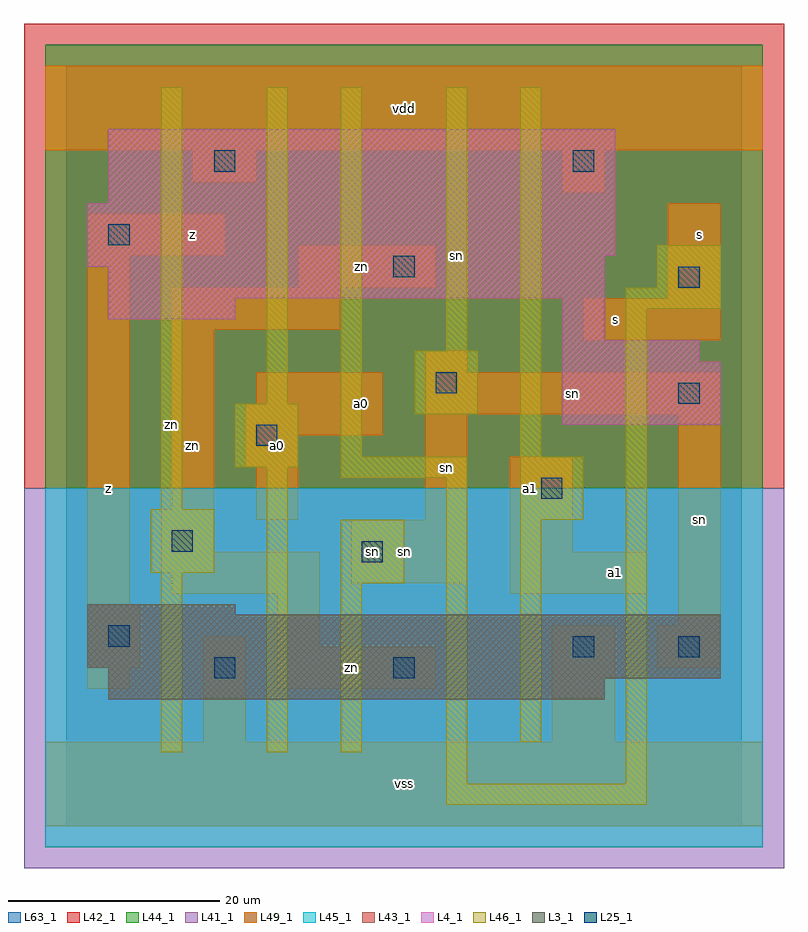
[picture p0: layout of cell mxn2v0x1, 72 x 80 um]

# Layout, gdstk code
import gdstk
lib = gdstk.Library(unit=1e-6, precision=1e-09)
def R(c, l, rs):  # rectangles x0, y0, x1, y1
    for r in rs: c.add(gdstk.rectangle(r[:2], r[2:], *l))
L3_1 = (3, 1)
L4_1 = (4, 1)
L25_1 = (25, 1)
L41_1 = (41, 1)
L42_1 = (42, 1)
L43_1 = (43, 1)
L44_1 = (44, 1)
L45_1 = (45, 1)
L46_1 = (46, 1)
L49_1 = (49, 1)
L63_1 = (63, 1)

mxn2v0x1 = lib.new_cell('mxn2v0x1')
R(mxn2v0x1, L3_1, [(4,12,51,14), (4,14,62,15), (2,15,62,20), (2,20,16,21)])
R(mxn2v0x1, L4_1, [(47,38,62,44), (47,44,60,46), (47,46,51,50), (4,48,16,50), (4,50,51,53), (2,53,51,54), (2,54,52,59), (4,59,52,66)])
R(mxn2v0x1, L25_1, [(14,14,16,16), (31,14,33,16), (48,16,50,18), (58,16,60,18), (4,17,6,19), (28,25,30,27), (10,26,12,28), (45,31,47,33), (18,36,20,38), (58,40,60,42), (35,41,37,43), (58,51,60,53), (31,52,33,54), (4,55,6,57), (14,62,16,64), (48,62,50,64)])
R(mxn2v0x1, L41_1, [(-4,-4,68,32)])
R(mxn2v0x1, L42_1, [(-4,32,68,76)])
R(mxn2v0x1, L43_1, [(4,12,51,14), (4,14,62,15), (2,15,62,20), (2,20,16,21), (47,38,62,44), (47,44,60,46), (47,46,51,50), (4,48,16,50), (4,50,51,53), (2,53,51,54), (2,54,52,59), (4,59,52,66)])
R(mxn2v0x1, L44_1, [(-2,32,66,74)])
R(mxn2v0x1, L45_1, [(-2,-2,66,32)])
R(mxn2v0x1, L46_1, [(36,2,55,4), (36,4,38,33), (53,4,55,49), (9,7,11,24), (19,7,21,34), (26,7,28,23), (43,8,45,29), (26,23,32,29), (8,24,14,30), (43,29,49,35), (9,30,11,70), (26,33,38,35), (16,34,22,40), (26,35,28,70), (43,35,45,70), (33,39,39,45), (19,40,21,70), (36,45,38,70), (53,49,62,51), (56,51,62,55)])
R(mxn2v0x1, L49_1, [(-2,0,66,8), (13,8,17,18), (46,8,52,19), (2,13,6,15), (20,13,35,17), (2,15,7,21), (56,15,62,19), (20,17,24,22), (58,19,62,39), (2,21,6,54), (10,22,24,24), (42,22,55,26), (27,23,38,29), (9,24,24,26), (9,26,14,30), (42,26,48,35), (18,29,22,34), (34,29,38,39), (10,30,14,47), (17,34,22,37), (17,37,30,40), (34,39,62,43), (18,40,30,43), (34,43,38,45), (49,46,62,50), (10,47,26,51), (57,50,62,59), (22,51,35,55), (2,54,15,58), (47,60,51,64), (12,61,18,64), (-2,64,66,72)])
R(mxn2v0x1, L63_1, [(0,0,64,72)])
mxn2v0x1.add(gdstk.Label('zn', (10,38), layer=46, texttype=1))
mxn2v0x1.add(gdstk.Label('sn', (29,26), layer=49, texttype=1))
mxn2v0x1.add(gdstk.Label('sn', (37,54), layer=46, texttype=1))
mxn2v0x1.add(gdstk.Label('z', (4,32), layer=49, texttype=1))
mxn2v0x1.add(gdstk.Label('zn', (12,36), layer=49, texttype=1))
mxn2v0x1.add(gdstk.Label('z', (12,56), layer=49, texttype=1))
mxn2v0x1.add(gdstk.Label('a0', (28,40), layer=49, texttype=1))
mxn2v0x1.add(gdstk.Label('a0', (20,36), layer=49, texttype=1))
mxn2v0x1.add(gdstk.Label('vss', (32,4), layer=49, texttype=1))
mxn2v0x1.add(gdstk.Label('zn', (27,15), layer=49, texttype=1))
mxn2v0x1.add(gdstk.Label('sn', (32,26), layer=49, texttype=1))
mxn2v0x1.add(gdstk.Label('a1', (44,32), layer=49, texttype=1))
mxn2v0x1.add(gdstk.Label('sn', (36,34), layer=49, texttype=1))
mxn2v0x1.add(gdstk.Label('zn', (28,53), layer=49, texttype=1))
mxn2v0x1.add(gdstk.Label('vdd', (32,68), layer=49, texttype=1))
mxn2v0x1.add(gdstk.Label('a1', (52,24), layer=49, texttype=1))
mxn2v0x1.add(gdstk.Label('sn', (60,29), layer=49, texttype=1))
mxn2v0x1.add(gdstk.Label('s', (52,48), layer=49, texttype=1))
mxn2v0x1.add(gdstk.Label('sn', (48,41), layer=49, texttype=1))
mxn2v0x1.add(gdstk.Label('s', (60,56), layer=49, texttype=1))

lib.write_gds('mxn2v0x1.gds')
